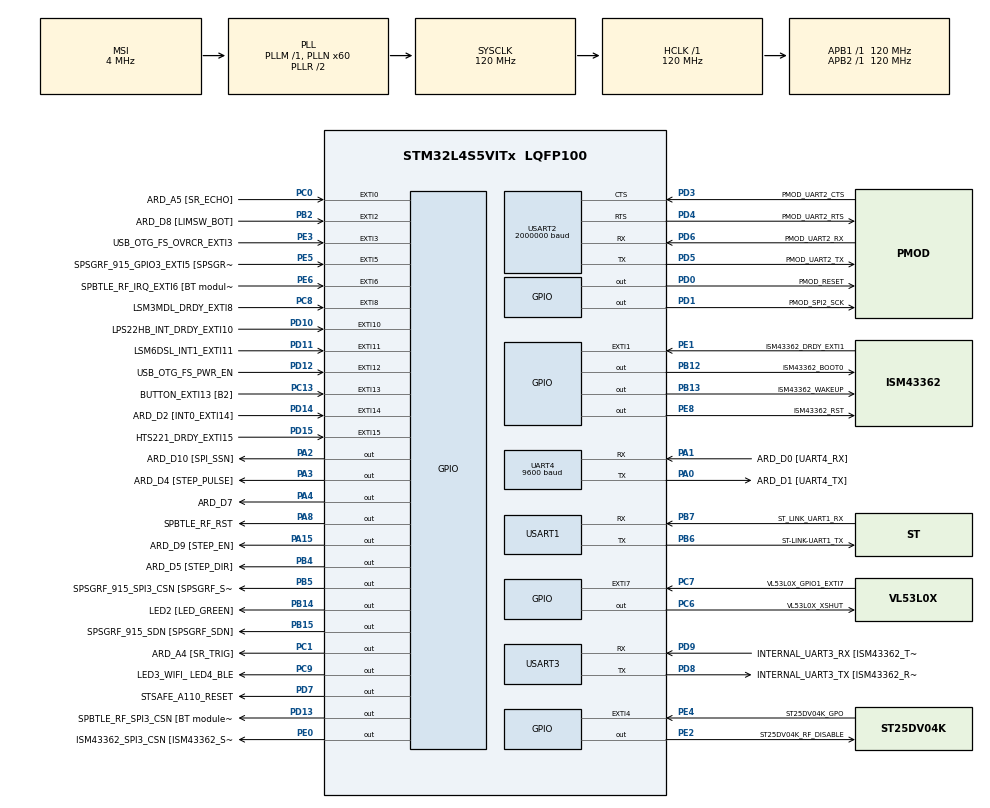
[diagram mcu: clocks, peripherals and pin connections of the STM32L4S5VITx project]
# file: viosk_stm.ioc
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Mcu.Family=STM32L4
Mcu.Name=STM32L4S5VITx
Mcu.Package=LQFP100
NVIC.EXTI0_IRQn=true\:0\:0\:false\:false\:true\:true\:true
NVIC.EXTI15_10_IRQn=true\:0\:0\:false\:false\:true\:true\:true
NVIC.EXTI2_IRQn=true\:0\:0\:false\:false\:true\:true\:true
NVIC.PriorityGroup=NVIC_PRIORITYGROUP_4
NVIC.TIM1_BRK_TIM15_IRQn=true\:0\:0\:false\:false\:true\:true\:true
NVIC.TIM2_IRQn=true\:0\:0\:false\:false\:true\:true\:true
NVIC.UART4_IRQn=true\:0\:0\:false\:false\:true\:true\:true
NVIC.USART1_IRQn=true\:0\:0\:false\:false\:true\:true\:true
NVIC.USART2_IRQn=true\:0\:0\:false\:false\:true\:true\:true
PA0.GPIO_Label=ARD_D1 [UART4_TX]
PA0.GPIO_ModeDefaultPP=GPIO_MODE_AF_PP
PA0.GPIO_PuPd=GPIO_NOPULL
PA0.GPIO_Speed=GPIO_SPEED_FREQ_VERY_HIGH
PA0.Mode=Asynchronous
PA0.Signal=UART4_TX
PA1.GPIO_Label=ARD_D0 [UART4_RX]
PA1.GPIO_ModeDefaultPP=GPIO_MODE_AF_PP
PA1.GPIO_PuPd=GPIO_NOPULL
PA1.GPIO_Speed=GPIO_SPEED_FREQ_VERY_HIGH
PA1.Mode=Asynchronous
PA1.Signal=UART4_RX
PA13\ (JTMS/SWDIO).GPIO_Label=SYS_JTMS_SWDIO
PA13\ (JTMS/SWDIO).Mode=Serial_Wire
PA13\ (JTMS/SWDIO).Signal=SYS_JTMS-SWDIO
PA14\ (JTCK/SWCLK).GPIO_Label=SYS_JTCK_SWCLK
PA14\ (JTCK/SWCLK).Mode=Serial_Wire
PA14\ (JTCK/SWCLK).Signal=SYS_JTCK-SWCLK
PA15\ (JTDI).GPIO_Label=ARD_D9 [STEP_EN]
PA15\ (JTDI).GPIO_ModeDefaultOutputPP=GPIO_MODE_OUTPUT_PP
PA15\ (JTDI).GPIO_PuPd=GPIO_NOPULL
PA15\ (JTDI).GPIO_Speed=GPIO_SPEED_FREQ_LOW
PA15\ (JTDI).PinState=GPIO_PIN_RESET
PA15\ (JTDI).Signal=GPIO_Output
PA2.GPIO_Label=ARD_D10 [SPI_SSN]
PA2.GPIO_ModeDefaultOutputPP=GPIO_MODE_OUTPUT_PP
PA2.GPIO_PuPd=GPIO_NOPULL
PA2.GPIO_Speed=GPIO_SPEED_FREQ_LOW
PA2.PinState=GPIO_PIN_RESET
PA2.Signal=GPIO_Output
PA3.GPIO_Label=ARD_D4 [STEP_PULSE]
PA3.GPIO_Speed=GPIO_SPEED_FREQ_VERY_HIGH
PA3.Signal=GPIO_Output
PA4.GPIO_Label=ARD_D7
PA4.Signal=GPIO_Output
PA5.GPIO_Label=ARD_D13 [SPI1_SCK/LED1]
PA5.GPIO_Mode=GPIO_MODE_AF_PP
PA5.GPIO_PuPd=GPIO_NOPULL
PA5.GPIO_Speed=GPIO_SPEED_FREQ_VERY_HIGH
PA5.Signal=SPI1_SCK
PA6.GPIO_Label=ARD_D12 [SPI1_MISO]
PA6.GPIO_Mode=GPIO_MODE_AF_PP
PA6.GPIO_PuPd=GPIO_NOPULL
PA6.GPIO_Speed=GPIO_SPEED_FREQ_VERY_HIGH
PA6.Signal=SPI1_MISO
PA7.GPIO_Label=ARD_D11 [SPI1_MOSI]
PA7.GPIO_Mode=GPIO_MODE_AF_PP
PA7.GPIO_PuPd=GPIO_NOPULL
PA7.GPIO_Speed=GPIO_SPEED_FREQ_VERY_HIGH
PA7.Signal=SPI1_MOSI
PA8.GPIO_Label=SPBTLE_RF_RST
PA8.GPIO_ModeDefaultOutputPP=GPIO_MODE_OUTPUT_PP
PA8.GPIO_PuPd=GPIO_NOPULL
PA8.GPIO_Speed=GPIO_SPEED_FREQ_LOW
PA8.PinState=GPIO_PIN_RESET
PA8.Signal=GPIO_Output
PA9.GPIO_Label=USB_OTG_FS_VBUS
PA9.GPIO_Mode=GPIO_MODE_INPUT
PA9.GPIO_PuPd=GPIO_NOPULL
PA9.Signal=USB_OTG_FS_VBUS
PB1.GPIO_Label=ARD_D6
PB1.GPIO_Speed=GPIO_SPEED_FREQ_LOW
PB1.Signal=S_TIM3_CH4
PB10.GPIO_Label=INTERNAL_I2C2_SCL [MEMs]
PB10.GPIO_Mode=GPIO_MODE_AF_OD
PB10.GPIO_PuPdOD=GPIO_PULLUP
PB10.GPIO_Speed=GPIO_SPEED_FREQ_VERY_HIGH
PB10.Signal=I2C2_SCL
PB11.GPIO_Label=INTERNAL_I2C2_SDA [MEMs]
PB11.GPIO_Mode=GPIO_MODE_AF_OD
PB11.GPIO_PuPdOD=GPIO_PULLUP
PB11.GPIO_Speed=GPIO_SPEED_FREQ_VERY_HIGH
PB11.Signal=I2C2_SDA
PB12.GPIO_Label=ISM43362_BOOT0
PB12.GPIO_ModeDefaultOutputPP=GPIO_MODE_OUTPUT_PP
PB12.GPIO_PuPd=GPIO_NOPULL
PB12.GPIO_Speed=GPIO_SPEED_FREQ_LOW
PB12.PinState=GPIO_PIN_RESET
PB12.Signal=GPIO_Output
PB13.GPIO_Label=ISM43362_WAKEUP
PB13.GPIO_ModeDefaultOutputPP=GPIO_MODE_OUTPUT_PP
PB13.GPIO_PuPd=GPIO_NOPULL
PB13.GPIO_Speed=GPIO_SPEED_FREQ_LOW
PB13.PinState=GPIO_PIN_RESET
PB13.Signal=GPIO_Output
PB14.GPIO_Label=LED2 [LED_GREEN]
PB14.GPIO_ModeDefaultOutputPP=GPIO_MODE_OUTPUT_PP
PB14.GPIO_PuPd=GPIO_NOPULL
PB14.GPIO_Speed=GPIO_SPEED_FREQ_LOW
PB14.PinState=GPIO_PIN_RESET
PB14.Signal=GPIO_Output
PB15.GPIO_Label=SPSGRF_915_SDN [SPSGRF_SDN]
PB15.Signal=GPIO_Output
PB2.GPIO_Label=ARD_D8 [LIMSW_BOT]
PB2.GPIO_ModeDefaultEXTI=GPIO_MODE_IT_FALLING
PB2.GPIO_PuPd=GPIO_PULLUP
PB2.Signal=GPXTI2
PB3\ (JTDO/TRACESWO).GPIO_Label=SYS_JTD0_SWO
PB3\ (JTDO/TRACESWO).Signal=SYS_JTDO-SWO
PB4\ (NJTRST).GPIO_Label=ARD_D5 [STEP_DIR]
PB4\ (NJTRST).GPIO_ModeDefaultOutputPP=GPIO_MODE_OUTPUT_PP
PB4\ (NJTRST).GPIO_PuPd=GPIO_NOPULL
PB4\ (NJTRST).GPIO_Speed=GPIO_SPEED_FREQ_LOW
PB4\ (NJTRST).PinState=GPIO_PIN_RESET
PB4\ (NJTRST).Signal=GPIO_Output
PB5.GPIO_Label=SPSGRF_915_SPI3_CSN [SPSGRF_SPI_CS]
PB5.Signal=GPIO_Output
PB6.GPIO_FM6=__NULL
PB6.GPIO_Label=ST-LINK-UART1_TX
PB6.GPIO_ModeDefaultPP=GPIO_MODE_AF_PP
PB6.GPIO_PuPd=GPIO_NOPULL
PB6.GPIO_Speed=GPIO_SPEED_FREQ_VERY_HIGH
PB6.Mode=Asynchronous
PB6.Signal=USART1_TX
PB7.GPIO_FM7=__NULL
PB7.GPIO_Label=ST_LINK_UART1_RX
PB7.GPIO_ModeDefaultPP=GPIO_MODE_AF_PP
PB7.GPIO_PuPd=GPIO_NOPULL
PB7.GPIO_Speed=GPIO_SPEED_FREQ_VERY_HIGH
PB7.Mode=Asynchronous
PB7.Signal=USART1_RX
PB8.GPIO_FM8=__NULL
PB8.GPIO_Label=ARD_D15 [I2C1_SCL]
PB8.GPIO_Mode=GPIO_MODE_AF_OD
PB8.GPIO_PuPdOD=GPIO_PULLUP
PB8.GPIO_Speed=GPIO_SPEED_FREQ_VERY_HIGH
PB8.Signal=I2C1_SCL
PB9.GPIO_FM9=__NULL
PB9.GPIO_Label=ARD_D14 [I2C1_SDA]
PB9.GPIO_Mode=GPIO_MODE_AF_OD
PB9.GPIO_PuPdOD=GPIO_PULLUP
PB9.GPIO_Speed=GPIO_SPEED_FREQ_VERY_HIGH
PB9.Signal=I2C1_SDA
PC0.GPIO_Label=ARD_A5 [SR_ECHO]
PC0.GPIO_ModeDefaultEXTI=GPIO_MODE_IT_RISING_FALLING
PC0.GPIO_PuPd=GPIO_PULLDOWN
PC0.Signal=GPXTI0
PC1.GPIO_Label=ARD_A4 [SR_TRIG]
PC1.GPIO_PuPd=GPIO_NOPULL
PC1.GPIO_Speed=GPIO_SPEED_FREQ_HIGH
PC1.Signal=GPIO_Output
PC10.GPIO_Label=INTERNAL-SPI3_SCK [BT module_SPI_MOSI] [ISM43362_MOSI]
PC10.GPIO_Mode=GPIO_MODE_AF_PP
PC10.GPIO_PuPd=GPIO_NOPULL
PC10.GPIO_Speed=GPIO_SPEED_FREQ_VERY_HIGH
PC10.Signal=SPI3_SCK
PC11.GPIO_Label=INTERNAL_SPI3_MISO [BT module_SPI_MOSI] [ISM43362_MOSI]
PC11.GPIO_Mode=GPIO_MODE_AF_PP
PC11.GPIO_PuPd=GPIO_NOPULL
PC11.GPIO_Speed=GPIO_SPEED_FREQ_VERY_HIGH
PC11.Signal=SPI3_MISO
PC12.GPIO_Label=INTERNAL_SPI3_MOSI [BT module_SPI_MOSI] [ISM43362_MOSI]
PC12.GPIO_Mode=GPIO_MODE_AF_PP
PC12.GPIO_PuPd=GPIO_NOPULL
PC12.GPIO_Speed=GPIO_SPEED_FREQ_VERY_HIGH
PC12.Signal=SPI3_MOSI
PC13.GPIO_Label=BUTTON_EXTI13 [B2]
PC13.GPIO_ModeDefaultEXTI=GPIO_MODE_IT_RISING
PC13.GPIO_PuPd=GPIO_NOPULL
PC13.Signal=GPXTI13
PC14-OSC32_IN\ (PC14).Mode=LSE-External-Oscillator
PC14-OSC32_IN\ (PC14).Signal=RCC_OSC32_IN
PC15-OSC32_OUT\ (PC15).Mode=LSE-External-Oscillator
PC15-OSC32_OUT\ (PC15).Signal=RCC_OSC32_OUT
PC2.GPIO_Label=ARD_A3 [ADC]
PC2.GPIO_Mode=GPIO_MODE_ANALOG_ADC_CONTROL
PC2.GPIO_PuPd=GPIO_NOPULL
PC2.Signal=ADCx_IN3
PC3.GPIO_Label=ARD_A2 [ADC]
PC3.GPIO_Mode=GPIO_MODE_ANALOG_ADC_CONTROL
PC3.GPIO_PuPd=GPIO_NOPULL
PC3.Signal=ADCx_IN4
PC4.GPIO_Label=ARD_A1 [ADC]
PC4.GPIO_Mode=GPIO_MODE_ANALOG_ADC_CONTROL
PC4.GPIO_PuPd=GPIO_NOPULL
PC4.Signal=ADCx_IN13
PC5.GPIO_Label=ARD_A0 [ADC]
PC5.GPIO_Mode=GPIO_MODE_ANALOG_ADC_CONTROL
PC5.GPIO_PuPd=GPIO_NOPULL
PC5.Signal=ADCx_IN14
PC6.GPIO_Label=VL53L0X_XSHUT
PC6.GPIO_ModeDefaultOutputPP=GPIO_MODE_OUTPUT_PP
PC6.GPIO_PuPd=GPIO_NOPULL
PC6.GPIO_Speed=GPIO_SPEED_FREQ_LOW
PC6.PinState=GPIO_PIN_RESET
PC6.Signal=GPIO_Output
PC7.GPIO_Label=VL53L0X_GPIO1_EXTI7
PC7.GPIO_ModeDefaultEXTI=GPIO_MODE_IT_RISING
PC7.GPIO_PuPd=GPIO_NOPULL
PC7.Signal=GPXTI7
PC8.GPIO_Label=LSM3MDL_DRDY_EXTI8
PC8.GPIO_ModeDefaultEXTI=GPIO_MODE_IT_RISING
PC8.GPIO_PuPd=GPIO_NOPULL
PC8.Signal=GPXTI8
PC9.GPIO_Label=LED3_WIFI_ LED4_BLE
PC9.GPIO_ModeDefaultOutputPP=GPIO_MODE_OUTPUT_PP
PC9.GPIO_PuPd=GPIO_NOPULL
PC9.GPIO_Speed=GPIO_SPEED_FREQ_LOW
PC9.PinState=GPIO_PIN_RESET
PC9.Signal=GPIO_Output
PD0.GPIO_Label=PMOD_RESET
PD0.GPIO_ModeDefaultOutputPP=GPIO_MODE_OUTPUT_PP
PD0.GPIO_PuPd=GPIO_NOPULL
PD0.GPIO_Speed=GPIO_SPEED_FREQ_LOW
PD0.PinState=GPIO_PIN_RESET
PD0.Signal=GPIO_Output
PD1.GPIO_Label=PMOD_SPI2_SCK
PD1.Signal=GPIO_Output
PD10.GPIO_Label=LPS22HB_INT_DRDY_EXTI10
PD10.GPIO_ModeDefaultEXTI=GPIO_MODE_IT_RISING
PD10.GPIO_PuPd=GPIO_NOPULL
PD10.Signal=GPXTI10
PD11.GPIO_Label=LSM6DSL_INT1_EXTI11
PD11.GPIO_ModeDefaultEXTI=GPIO_MODE_IT_RISING
PD11.GPIO_PuPd=GPIO_NOPULL
PD11.Signal=GPXTI11
PD12.GPIO_Label=USB_OTG_FS_PWR_EN
PD12.GPIO_ModeDefaultEXTI=GPIO_MODE_IT_RISING
PD12.GPIO_PuPd=GPIO_NOPULL
PD12.Signal=GPXTI12
PD13.GPIO_Label=SPBTLE_RF_SPI3_CSN [BT module_SPI_CS]
PD13.GPIO_ModeDefaultOutputPP=GPIO_MODE_OUTPUT_PP
PD13.GPIO_PuPd=GPIO_NOPULL
PD13.GPIO_Speed=GPIO_SPEED_FREQ_LOW
PD13.PinState=GPIO_PIN_RESET
PD13.Signal=GPIO_Output
PD14.GPIO_Label=ARD_D2 [INT0_EXTI14]
PD14.GPIO_ModeDefaultEXTI=GPIO_MODE_IT_RISING
PD14.GPIO_PuPd=GPIO_NOPULL
PD14.Signal=GPXTI14
PD15.GPIO_Label=HTS221_DRDY_EXTI15
PD15.GPIO_ModeDefaultEXTI=GPIO_MODE_IT_RISING
PD15.GPIO_PuPd=GPIO_NOPULL
PD15.Signal=GPXTI15
PD3.GPIO_Label=PMOD_UART2_CTS
PD3.GPIO_Mode=GPIO_MODE_AF_PP
PD3.GPIO_PuPd=GPIO_NOPULL
PD3.GPIO_Speed=GPIO_SPEED_FREQ_VERY_HIGH
PD3.Mode=CTS_RTS
PD3.Signal=USART2_CTS
PD4.GPIO_Label=PMOD_UART2_RTS
PD4.GPIO_Mode=GPIO_MODE_AF_PP
PD4.GPIO_PuPd=GPIO_NOPULL
PD4.GPIO_Speed=GPIO_SPEED_FREQ_VERY_HIGH
PD4.Mode=CTS_RTS
PD4.Signal=USART2_RTS
PD5.GPIO_Label=PMOD_UART2_TX
PD5.GPIO_ModeDefaultPP=GPIO_MODE_AF_PP
PD5.GPIO_PuPd=GPIO_NOPULL
PD5.GPIO_Speed=GPIO_SPEED_FREQ_VERY_HIGH
PD5.Mode=Asynchronous
PD5.Signal=USART2_TX
PD6.GPIO_Label=PMOD_UART2_RX
PD6.GPIO_ModeDefaultPP=GPIO_MODE_AF_PP
PD6.GPIO_PuPd=GPIO_NOPULL
PD6.GPIO_Speed=GPIO_SPEED_FREQ_VERY_HIGH
PD6.Mode=Asynchronous
PD6.Signal=USART2_RX
PD7.GPIO_Label=STSAFE_A110_RESET
PD7.GPIO_ModeDefaultOutputPP=GPIO_MODE_OUTPUT_PP
PD7.GPIO_PuPd=GPIO_NOPULL
PD7.GPIO_Speed=GPIO_SPEED_FREQ_LOW
PD7.PinState=GPIO_PIN_RESET
PD7.Signal=GPIO_Output
PD8.GPIO_Label=INTERNAL_UART3_TX [ISM43362_RX]
PD8.GPIO_ModeDefaultPP=GPIO_MODE_AF_PP
PD8.GPIO_PuPd=GPIO_NOPULL
PD8.GPIO_Speed=GPIO_SPEED_FREQ_VERY_HIGH
PD8.Mode=Asynchronous
PD8.Signal=USART3_TX
PD9.GPIO_Label=INTERNAL_UART3_RX [ISM43362_TX]
PD9.GPIO_ModeDefaultPP=GPIO_MODE_AF_PP
PD9.GPIO_PuPd=GPIO_NOPULL
PD9.GPIO_Speed=GPIO_SPEED_FREQ_VERY_HIGH
PD9.Mode=Asynchronous
PD9.Signal=USART3_RX
PE0.GPIO_Label=ISM43362_SPI3_CSN [ISM43362_SSN]
PE0.GPIO_ModeDefaultOutputPP=GPIO_MODE_OUTPUT_PP
PE0.GPIO_PuPd=GPIO_NOPULL
PE0.GPIO_Speed=GPIO_SPEED_FREQ_LOW
PE0.PinState=GPIO_PIN_RESET
PE0.Signal=GPIO_Output
PE1.GPIO_Label=ISM43362_DRDY_EXTI1
PE1.GPIO_ModeDefaultEXTI=GPIO_MODE_IT_RISING
PE1.GPIO_PuPd=GPIO_NOPULL
PE1.Signal=GPXTI1
PE10.GPIO_Label=QUADSPI_CLK [MX25R6435F_SCLK]
PE10.GPIO_Mode=GPIO_MODE_AF_PP
PE10.GPIO_PuPd=GPIO_NOPULL
PE10.GPIO_Speed_High_Default=GPIO_SPEED_FREQ_VERY_HIGH
PE10.Signal=OCTOSPIM_P1_CLK
PE11.GPIO_Label=QUADSPI_NCS [MX25R6435F_SCLK]
PE11.GPIO_Mode=GPIO_MODE_AF_PP
PE11.GPIO_PuPd=GPIO_NOPULL
PE11.GPIO_Speed_High_Default=GPIO_SPEED_FREQ_VERY_HIGH
PE11.Signal=OCTOSPIM_P1_NCS
PE12.GPIO_Label=OQUADSPI_BK1_IO0 [MX25R6435F_IO0]
PE12.GPIO_Mode=GPIO_MODE_AF_PP
PE12.GPIO_PuPd=GPIO_NOPULL
PE12.GPIO_Speed_High_Default=GPIO_SPEED_FREQ_VERY_HIGH
PE12.Signal=OCTOSPIM_P1_IO0
PE13.GPIO_Label=QUADSPI_BK1_IO1 [MX25R6435F_IO1]
PE13.GPIO_Mode=GPIO_MODE_AF_PP
PE13.GPIO_PuPd=GPIO_NOPULL
PE13.GPIO_Speed_High_Default=GPIO_SPEED_FREQ_VERY_HIGH
PE13.Signal=OCTOSPIM_P1_IO1
PE14.GPIO_Label=QUAD_SPI_BK1_IO2 [MX25R6435F_IO2]
PE14.GPIO_Mode=GPIO_MODE_AF_PP
PE14.GPIO_PuPd=GPIO_NOPULL
PE14.GPIO_Speed_High_Default=GPIO_SPEED_FREQ_VERY_HIGH
PE14.Signal=OCTOSPIM_P1_IO2
PE15.GPIO_Label=QUAD_SPI_BK1_IO3 [MX25R6435F_IO3]
PE15.GPIO_Mode=GPIO_MODE_AF_PP
PE15.GPIO_PuPd=GPIO_NOPULL
PE15.GPIO_Speed_High_Default=GPIO_SPEED_FREQ_VERY_HIGH
PE15.Signal=OCTOSPIM_P1_IO3
PE2.GPIO_Label=ST25DV04K_RF_DISABLE
PE2.GPIO_ModeDefaultOutputPP=GPIO_MODE_OUTPUT_PP
PE2.GPIO_PuPd=GPIO_NOPULL
PE2.GPIO_Speed=GPIO_SPEED_FREQ_LOW
PE2.PinState=GPIO_PIN_RESET
PE2.Signal=GPIO_Output
PE3.GPIO_Label=USB_OTG_FS_OVRCR_EXTI3
PE3.GPIO_ModeDefaultEXTI=GPIO_MODE_IT_RISING
PE3.GPIO_PuPd=GPIO_NOPULL
PE3.Signal=GPXTI3
PE4.GPIO_Label=ST25DV04K_GPO
PE4.GPIO_ModeDefaultEXTI=GPIO_MODE_IT_RISING
PE4.GPIO_PuPd=GPIO_NOPULL
PE4.Signal=GPXTI4
PE5.GPIO_Label=SPSGRF_915_GPIO3_EXTI5 [SPSGRF_GPIO_3]
PE5.Signal=GPXTI5
PE6.GPIO_Label=SPBTLE_RF_IRQ_EXTI6 [BT module_SPI_IRQ]
PE6.GPIO_ModeDefaultEXTI=GPIO_MODE_IT_RISING
PE6.GPIO_PuPd=GPIO_NOPULL
PE6.Signal=GPXTI6
PE7.GPIO_Label=DFSDM1_DATIN2 [MP34DT01_DOUT]
PE7.GPIO_Mode=GPIO_MODE_AF_PP
PE7.GPIO_PuPd=GPIO_NOPULL
PE7.GPIO_Speed=GPIO_SPEED_FREQ_LOW
PE7.Signal=S_DATAIN2DFSDM1
PE8.GPIO_Label=ISM43362_RST
PE8.GPIO_ModeDefaultOutputPP=GPIO_MODE_OUTPUT_PP
PE8.GPIO_PuPd=GPIO_NOPULL
PE8.GPIO_Speed=GPIO_SPEED_FREQ_LOW
PE8.PinState=GPIO_PIN_RESET
PE8.Signal=GPIO_Output
PE9.GPIO_Label=DFSDM1_CKOUT [MP34DT01_CLK]
PE9.GPIO_Mode=GPIO_MODE_AF_PP
PE9.GPIO_PuPd=GPIO_NOPULL
PE9.GPIO_Speed=GPIO_SPEED_FREQ_LOW
PE9.Signal=S_CKOUTDFSDM1
PH0-OSC_IN\ (PH0).Mode=HSE-External-Oscillator
PH0-OSC_IN\ (PH0).Signal=RCC_OSC_IN
PH1-OSC_OUT\ (PH1).Mode=HSE-External-Oscillator
PH1-OSC_OUT\ (PH1).Signal=RCC_OSC_OUT
ProjectManager.HeapSize=0x200
ProjectManager.StackSize=0x800
ProjectManager.TargetToolchain=STM32CubeIDE
RCC.ADCFreq_Value=48000000
RCC.AHBFreq_Value=120000000
RCC.APB1Freq_Value=120000000
RCC.APB1TimFreq_Value=120000000
RCC.APB2Freq_Value=120000000
RCC.APB2TimFreq_Value=120000000
RCC.CortexFreq_Value=120000000
RCC.HCLKFreq_Value=120000000
RCC.HSE_VALUE=8000000
RCC.HSI48_VALUE=48000000
RCC.HSI_VALUE=16000000
RCC.MSI_VALUE=4000000
RCC.PLLN=60
RCC.PLLSAI1N=24
RCC.SYSCLKFreq_VALUE=120000000
RCC.SYSCLKSource=RCC_SYSCLKSOURCE_PLLCLK
RCC.USBFreq_Value=48000000
RCC.VCOOutputFreq_Value=240000000
SH.ADCx_IN13.0=ADC1_IN13
SH.ADCx_IN14.0=ADC1_IN14
SH.ADCx_IN3.0=ADC1_IN3
SH.ADCx_IN4.0=ADC1_IN4
SH.S_CKOUTDFSDM1.0=DFSDM1_CKOUT
SH.S_DATAIN2DFSDM1.0=DFSDM1_DATIN2
SH.S_TIM3_CH4.0=TIM3_CH4
STMicroelectronics.X-CUBE-AI.5.2.0.ActivationBufferSizeList=226260
STMicroelectronics.X-CUBE-AI.5.2.0.ApplicationCcArtificialOoIntelligenceJjApplication=ApplicationTemplate
STMicroelectronics.X-CUBE-AI.5.2.0.HeapSize=0x200
STMicroelectronics.X-CUBE-AI.5.2.0.InternalRamActivationBufferMaxSize=AI_NETWORK_DATA_ACTIVATIONS_SIZE
STMicroelectronics.X-CUBE-AI.5.2.0.LatestDirectoryUsed-3087ebbdfdd487732a6a7d918bfe78b06fbc535b57189251a9631f904e3186d3=C\:\\Users\\Hyunsungkim\\Downloads
STMicroelectronics.X-CUBE-AI.5.2.0.MaximumNumberOfInputLayer=1
STMicroelectronics.X-CUBE-AI.5.2.0.MaximumNumberOfOutputLayer=1
STMicroelectronics.X-CUBE-AI.5.2.0.MaximumSizeOfInputLayer=AI_NETWORK_IN_1_SIZE_BYTES
STMicroelectronics.X-CUBE-AI.5.2.0.MaximumSizeOfOutputLayer=AI_NETWORK_OUT_1_SIZE_BYTES
STMicroelectronics.X-CUBE-AI.5.2.0.ModelActualCompression-3087ebbdfdd487732a6a7d918bfe78b06fbc535b57189251a9631f904e3186d3=0.0
STMicroelectronics.X-CUBE-AI.5.2.0.ModelCompression-3087ebbdfdd487732a6a7d918bfe78b06fbc535b57189251a9631f904e3186d3=1
STMicroelectronics.X-CUBE-AI.5.2.0.ModelFlashOccupation-3087ebbdfdd487732a6a7d918bfe78b06fbc535b57189251a9631f904e3186d3=149184
STMicroelectronics.X-CUBE-AI.5.2.0.ModelHashList=3087ebbdfdd487732a6a7d918bfe78b06fbc535b57189251a9631f904e3186d3
STMicroelectronics.X-CUBE-AI.5.2.0.ModelKind-3087ebbdfdd487732a6a7d918bfe78b06fbc535b57189251a9631f904e3186d3=TFLITE
STMicroelectronics.X-CUBE-AI.5.2.0.ModelMacc-3087ebbdfdd487732a6a7d918bfe78b06fbc535b57189251a9631f904e3186d3=51607476
STMicroelectronics.X-CUBE-AI.5.2.0.ModelName-3087ebbdfdd487732a6a7d918bfe78b06fbc535b57189251a9631f904e3186d3=network
STMicroelectronics.X-CUBE-AI.5.2.0.ModelNameList=network
STMicroelectronics.X-CUBE-AI.5.2.0.ModelRamOccupation-3087ebbdfdd487732a6a7d918bfe78b06fbc535b57189251a9631f904e3186d3=226260
STMicroelectronics.X-CUBE-AI.5.2.0.ModelStructureFile-3087ebbdfdd487732a6a7d918bfe78b06fbc535b57189251a9631f904e3186d3=C\:\\Users\\Hyunsungkim\\Downloads\\model_200x200_quant_8b.tflite
STMicroelectronics.X-CUBE-AI.5.2.0.ModelType-3087ebbdfdd487732a6a7d918bfe78b06fbc535b57189251a9631f904e3186d3=Saved model
STMicroelectronics.X-CUBE-AI.5.2.0.StackSize=0x800
STMicroelectronics.X-CUBE-AI.5.2.0.WorkingBufferStartAddrList=0xFFFFFFFF
STMicroelectronics.X-CUBE-AI.5.2.0.XAaCUBEAaAICcArtificialOoIntelligenceJjCore=true
TIM15.Period=10-1
TIM15.Prescaler=120-1
TIM2.Period=500-1
TIM2.Prescaler=240-1
UART4.BaudRate=9600
USART1.VirtualMode-Asynchronous=VM_ASYNC
USART2.BaudRate=2000000
USART2.VirtualMode-Asynchronous=VM_ASYNC
USART3.VirtualMode-Asynchronous=VM_ASYNC
VP_CRC_VS_CRC.Mode=CRC_Activate
VP_STMicroelectronics.X-CUBE-AI_VS_ArtificialOoIntelligenceJjApplication_5.2.0.Mode=ArtificialOoIntelligenceJjApplication
VP_STMicroelectronics.X-CUBE-AI_VS_ArtificialOoIntelligenceJjXAaCUBEAaAI_5.2.0.Mode=ArtificialOoIntelligenceJjXAaCUBEAaAI
VP_TIM15_VS_ClockSourceINT.Mode=Internal
VP_TIM2_VS_ClockSourceINT.Mode=Internal
board=B-L4S5I-IOT01A

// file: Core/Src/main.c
/* USER CODE BEGIN Header */
/**
  ******************************************************************************
  * @file           : main.c
  * @brief          : Main program body
  ******************************************************************************
  * @attention
  *
  * <h2><center>&copy; Copyright (c) 2021 STMicroelectronics.
  * All rights reserved.</center></h2>
  *
  * This software component is licensed by ST under BSD 3-Clause license,
  * the "License"; You may not use this file except in compliance with the
  * License. You may obtain a copy of the License at:
  *                        opensource.org/licenses/BSD-3-Clause
  *
  ******************************************************************************
  */
/* USER CODE END Header */
#include "main.h"
#include "crc.h"
#include "tim.h"
#include "usart.h"
#include "gpio.h"
#include "app_x-cube-ai.h"

/* USER CODE BEGIN PD */

// SR-HC14
#define SR_STATE_IDLE 0 // idle
#define SR_STATE_REQ 1	// user requested to measure
#define SR_STATE_TRIG 2 // triggering
#define SR_STATE_WAIT 3 // waiting echo back
#define SR_STATE_ECHO 4 // measuring echo pulse duration

// STEPPER MOTOR
#define STEP_DIRECTION_CW 0
#define STEP_DIRECTION_CCW 1
#define STEP_MODE_DISABLE 0
#define STEP_MODE_STALL 1
#define STEP_MODE_DYNAMIC 2
/* USER CODE END PD */

/* USER CODE BEGIN PV */

// AI
volatile float img[40000];
volatile uint16_t img_idx = 0;
volatile uint8_t rx_data;

// Timer instances and ticks
extern TIM_HandleTypeDef htim15;
extern TIM_HandleTypeDef htim2;
volatile uint64_t us_count = 0;

// SR-HC14
volatile uint8_t sr_state = SR_STATE_IDLE;
volatile uint64_t sr_trigger_us = 0, sr_echo_us = 0;
volatile uint32_t sr_elapsed_us;

// USART
volatile uint8_t rx_data;

// STEPPER MOTOR
volatile uint32_t step_cnt = 0;
volatile uint32_t step_target = 0;
volatile uint8_t step_mode = STEP_MODE_STALL;
volatile uint8_t step_init = 0;

/* USER CODE END PV */

void SystemClock_Config(void);
/* USER CODE BEGIN PFP */

void HAL_GPIO_EXTI_Callback(uint16_t GPIO_Pin);
void STEP_turn(uint32_t count_step);
uint16_t SR_ReadDistance(int *sr_state, unsigned long *sr_elapsed_us);
uint64_t HAL_GetTickUS();
void HAL_TIM_PeriodElapsedCallback(TIM_HandleTypeDef *htim);
void HAL_UART_RxCpltCallback(UART_HandleTypeDef *huart);
int __io_putchar(int ch);
int _write(int file, char *ptr, int len);
/* USER CODE END PFP */

/* USER CODE BEGIN 0 */
int age_detection()
{
	float aiout[4];
	int max = 0;

	HAL_UART_Transmit(&huart2, 'a', 1, 1000);
	while(img_idx<40000);

	MX_X_CUBE_AI_Process(img, aiout);

	for (int i = 0; i < 6; i++){
		if(aiout[i] > aiout[max])
			max = i;
	}
	//HAL_UART_Transmit(&huart2, img, 40000, 1000);
	img_idx = 0;
	memset(img, 0, sizeof(img));
	return max;
}
/* USER CODE END 0 */

int main(void)
{
  /* USER CODE BEGIN 1 */
	int16_t distance = 0;
	uint8_t tx_data[3] = {0,'\r','\n'};
	uint8_t phase = 0;
  /* USER CODE END 1 */

  /* MCU Configuration--------------------------------------------------------*/

  /* Reset of all peripherals, Initializes the Flash interface and the Systick. */
	HAL_Init();

  /* Configure the system clock */
	SystemClock_Config();

  /* Initialize all configured peripherals */
	MX_GPIO_Init();
	MX_UART4_Init();
	MX_USART1_UART_Init();
	MX_USART2_UART_Init();
	MX_USART3_UART_Init();
	MX_TIM15_Init();
	MX_TIM2_Init();
	MX_CRC_Init();
	MX_X_CUBE_AI_Init();
  /* USER CODE BEGIN 2 */

	HAL_UART_Receive_IT(&huart1, &rx_data, 1);
	HAL_UART_Receive_IT(&huart2, &rx_data, 1);
	HAL_UART_Receive_IT(&huart4, &rx_data, 1);

	if (HAL_TIM_Base_Start_IT(&htim15) != HAL_OK)
	{
		Error_Handler();
	}
	if (HAL_TIM_Base_Start_IT(&htim2) != HAL_OK)
	{
		Error_Handler();
	}

	printf("Started\r\n");
	HAL_Delay(100);
  /* USER CODE END 2 */

  /* Infinite loop */
  /* USER CODE BEGIN WHILE */
	while (1)
	{
		distance = 0;
		for(int i=0; i<3; i++) {
			uint16_t d = SR_ReadDistance(&sr_state, &sr_elapsed_us);
			distance += d;
			HAL_Delay(100);
		}
		distance /= 3;
		printf("Distance %d\r\n", distance);

		if(phase == 0) {
			if(distance < 60) {
				if (HAL_TIM_Base_Stop_IT(&htim15) != HAL_OK)
					Error_Handler();
				if (HAL_TIM_Base_Stop_IT(&htim2) != HAL_OK)
					Error_Handler();

				int age = age_detection();
				printf("Max label %d\r\n", age);

				if (HAL_TIM_Base_Start_IT(&htim15) != HAL_OK)
					Error_Handler();
				if (HAL_TIM_Base_Start_IT(&htim2) != HAL_OK)
					Error_Handler();

				tx_data[0] = age +'0';
				HAL_UART_Transmit(&huart4, tx_data, 2, 100);
				HAL_Delay(5000);
				HAL_UART_Transmit(&huart4, tx_data, 2, 100);
				phase = 1;
			}
		}
		else if(phase == 1) {
			if(distance<46.5&&distance>26.5) {
				STEP_turn((double)(46.5-distance)/26.5*14200);
            //200-distance -> 180  14200
            //200-distance -> 153.5  0
            //14200:26.5 = k:a
			}
			else {
				STEP_turn(7100);
			}
		}
		else if(phase == 2) {
			if(distance>60)
				phase = 0;
		}

		HAL_Delay(500);

#if 0
    /* USER CODE END WHILE */

  MX_X_CUBE_AI_Process();
    /* USER CODE BEGIN 3 */
#endif
	}
  /* USER CODE END 3 */
}

void SystemClock_Config(void)
{
	RCC_OscInitTypeDef RCC_OscInitStruct = {0};
	RCC_ClkInitTypeDef RCC_ClkInitStruct = {0};
	RCC_PeriphCLKInitTypeDef PeriphClkInit = {0};

  /** Configure the main internal regulator output voltage
  */
	if (HAL_PWREx_ControlVoltageScaling(PWR_REGULATOR_VOLTAGE_SCALE1_BOOST) != HAL_OK)
	{
		Error_Handler();
	}
  /** Initializes the RCC Oscillators according to the specified parameters
  * in the RCC_OscInitTypeDef structure.
  */
	RCC_OscInitStruct.OscillatorType = RCC_OSCILLATORTYPE_MSI;
	RCC_OscInitStruct.MSIState = RCC_MSI_ON;
	RCC_OscInitStruct.MSICalibrationValue = 0;
	RCC_OscInitStruct.MSIClockRange = RCC_MSIRANGE_6;
	RCC_OscInitStruct.PLL.PLLState = RCC_PLL_ON;
	RCC_OscInitStruct.PLL.PLLSource = RCC_PLLSOURCE_MSI;
	RCC_OscInitStruct.PLL.PLLM = 1;
	RCC_OscInitStruct.PLL.PLLN = 60;
	RCC_OscInitStruct.PLL.PLLP = RCC_PLLP_DIV2;
	RCC_OscInitStruct.PLL.PLLQ = RCC_PLLQ_DIV2;
	RCC_OscInitStruct.PLL.PLLR = RCC_PLLR_DIV2;
	if (HAL_RCC_OscConfig(&RCC_OscInitStruct) != HAL_OK)
	{
		Error_Handler();
	}
  /** Initializes the CPU, AHB and APB buses clocks
  */
	RCC_ClkInitStruct.ClockType = RCC_CLOCKTYPE_HCLK|RCC_CLOCKTYPE_SYSCLK
	|RCC_CLOCKTYPE_PCLK1|RCC_CLOCKTYPE_PCLK2;
	RCC_ClkInitStruct.SYSCLKSource = RCC_SYSCLKSOURCE_PLLCLK;
	RCC_ClkInitStruct.AHBCLKDivider = RCC_SYSCLK_DIV1;
	RCC_ClkInitStruct.APB1CLKDivider = RCC_HCLK_DIV1;
	RCC_ClkInitStruct.APB2CLKDivider = RCC_HCLK_DIV1;

	if (HAL_RCC_ClockConfig(&RCC_ClkInitStruct, FLASH_LATENCY_5) != HAL_OK)
	{
		Error_Handler();
	}
	PeriphClkInit.PeriphClockSelection = RCC_PERIPHCLK_USART1|RCC_PERIPHCLK_USART2
	|RCC_PERIPHCLK_USART3|RCC_PERIPHCLK_UART4;
	PeriphClkInit.Usart1ClockSelection = RCC_USART1CLKSOURCE_PCLK2;
	PeriphClkInit.Usart2ClockSelection = RCC_USART2CLKSOURCE_PCLK1;
	PeriphClkInit.Usart3ClockSelection = RCC_USART3CLKSOURCE_PCLK1;
	PeriphClkInit.Uart4ClockSelection = RCC_UART4CLKSOURCE_PCLK1;
	if (HAL_RCCEx_PeriphCLKConfig(&PeriphClkInit) != HAL_OK)
	{
		Error_Handler();
	}
}

/* USER CODE BEGIN 4 */

void HAL_GPIO_EXTI_Callback(uint16_t GPIO_Pin)
{
	if (GPIO_Pin == SR_ECHO_Pin)
	{
		switch (sr_state)
		{
			case SR_STATE_WAIT:
			sr_state = SR_STATE_ECHO;
			sr_echo_us = HAL_GetTickUS();
			break;
			case SR_STATE_ECHO:
			sr_state = SR_STATE_IDLE;
			sr_elapsed_us = HAL_GetTickUS() - sr_echo_us;
			break;
		}
	}
	else if (GPIO_Pin == BUTTON_EXTI13_Pin)
	{
		if (step_mode == STEP_MODE_STALL)
			step_mode = STEP_MODE_DYNAMIC;
		else
			step_mode = STEP_MODE_STALL;

		printf("STEP_ENABLE %d, %d\r\n", step_mode, TIM2->PSC);
	}
	else if (GPIO_Pin == LIMSW_BOT_Pin)
	{
		printf("Limit switch pushed\r\n");
		step_init = 1;
		//step_mode = STEP_MODE_DISABLE;
	}
}

void STEP_turn(uint32_t count_step)
{
	step_target = count_step;
	step_mode = STEP_MODE_DYNAMIC;
}

uint16_t SR_ReadDistance(int *sr_state, unsigned long *sr_elapsed_us)
{
	uint32_t t = HAL_GetTick();
	*sr_state = SR_STATE_REQ;
	while (*sr_state != SR_STATE_IDLE)
	{
		if (*sr_elapsed_us > 38000u)
		{
			return -1;
		}
		if (HAL_GetTick() - t > 500u)
			return -2;
	}
	return *sr_elapsed_us / 58;
}

uint64_t HAL_GetTickUS()
{
	return 10u * us_count;
}

void HAL_TIM_PeriodElapsedCallback(TIM_HandleTypeDef *htim)
{

	if (htim->Instance == TIM15)
	{
		// 10 us counter
		us_count++;

		// SR Ultrasonic sensor
		switch (sr_state)
		{
			case SR_STATE_REQ:
			sr_trigger_us = HAL_GetTickUS();
			sr_state = SR_STATE_TRIG;
			HAL_GPIO_WritePin(SR_TRIG_Port, SR_TRIG_Pin, GPIO_PIN_SET);
			break;
			case SR_STATE_TRIG:
			if (HAL_GetTickUS() - sr_trigger_us >= 10)
			{
				sr_state = SR_STATE_WAIT;
				HAL_GPIO_WritePin(SR_TRIG_Port, SR_TRIG_Pin, GPIO_PIN_RESET);
			}
			break;
		}

		// Blink LED2 every seconds
		if (HAL_GetTickUS() % 1000000u == 0)
		{
			HAL_GPIO_TogglePin(LED2_GPIO_Port, LED2_Pin);
		}
	}
	else if (htim->Instance == TIM2)
	{
		if (step_init == 0)
		{
			HAL_GPIO_WritePin(STEP_DIR_Port, STEP_DIR_Pin, GPIO_PIN_SET);
			HAL_GPIO_WritePin(STEP_EN_Port, STEP_EN_Pin, GPIO_PIN_RESET);
			HAL_GPIO_TogglePin(STEP_PULSE_Port, STEP_PULSE_Pin);
		}
		else
		{
			switch (step_mode)
			{
				case STEP_MODE_DISABLE:
				HAL_GPIO_WritePin(STEP_EN_Port, STEP_EN_Pin, GPIO_PIN_SET);
				break;
				case STEP_MODE_STALL:
				HAL_GPIO_WritePin(STEP_EN_Port, STEP_EN_Pin, GPIO_PIN_RESET);
				break;
				case STEP_MODE_DYNAMIC:
				HAL_GPIO_WritePin(STEP_EN_Port, STEP_EN_Pin, GPIO_PIN_RESET);
				if (step_cnt < step_target)
				{
					step_cnt++;
					HAL_GPIO_WritePin(STEP_DIR_Port, STEP_DIR_Pin, GPIO_PIN_RESET);
					HAL_GPIO_TogglePin(STEP_PULSE_Port, STEP_PULSE_Pin);
				}
				else if(step_cnt > step_target)
				{
					step_cnt--;
					HAL_GPIO_WritePin(STEP_DIR_Port, STEP_DIR_Pin, GPIO_PIN_SET);
					HAL_GPIO_TogglePin(STEP_PULSE_Port, STEP_PULSE_Pin);
				}
				else
				{
					step_mode = STEP_MODE_STALL;
				}

				break;
			}
		}
	}
}

void HAL_UART_RxCpltCallback(UART_HandleTypeDef *huart)
{
	if (huart->Instance == USART1)
	{
		HAL_UART_Receive_IT(&huart1, &rx_data, 1);
		HAL_UART_Transmit(&huart1, &rx_data, 1, 100);
	}
	if(huart->Instance == USART2) {
		HAL_UART_Receive_IT(&huart2, &rx_data, 1);
//		HAL_UART_Transmit(&huart2, &rx_data, 1, 1);
		if(img_idx<40000)
			img[img_idx++] = rx_data;
		else
			HAL_UART_Transmit(&huart2, &rx_data, 1, 1);

	}
	if (huart->Instance == UART4)
	{
		HAL_UART_Receive_IT(&huart4, &rx_data, 1);
		HAL_UART_Transmit(&huart4, &rx_data, 1, 100);
	}
}

int __io_putchar(int ch)
{
	while (HAL_OK != HAL_UART_Transmit(&huart1, (uint8_t *)&ch, 1, 3000))
		;
	return ch;
}

int _write(int file, char *ptr, int len)
{
	int DataIdx;

	for (DataIdx = 0; DataIdx < len; DataIdx++)
	{
		__io_putchar(*ptr++);
	}
	return len;
}

/* USER CODE END 4 */

void Error_Handler(void)
{
	__disable_irq();
	while (1)
	{
	}
}

/************************ (C) COPYRIGHT STMicroelectronics *****END OF FILE****/
